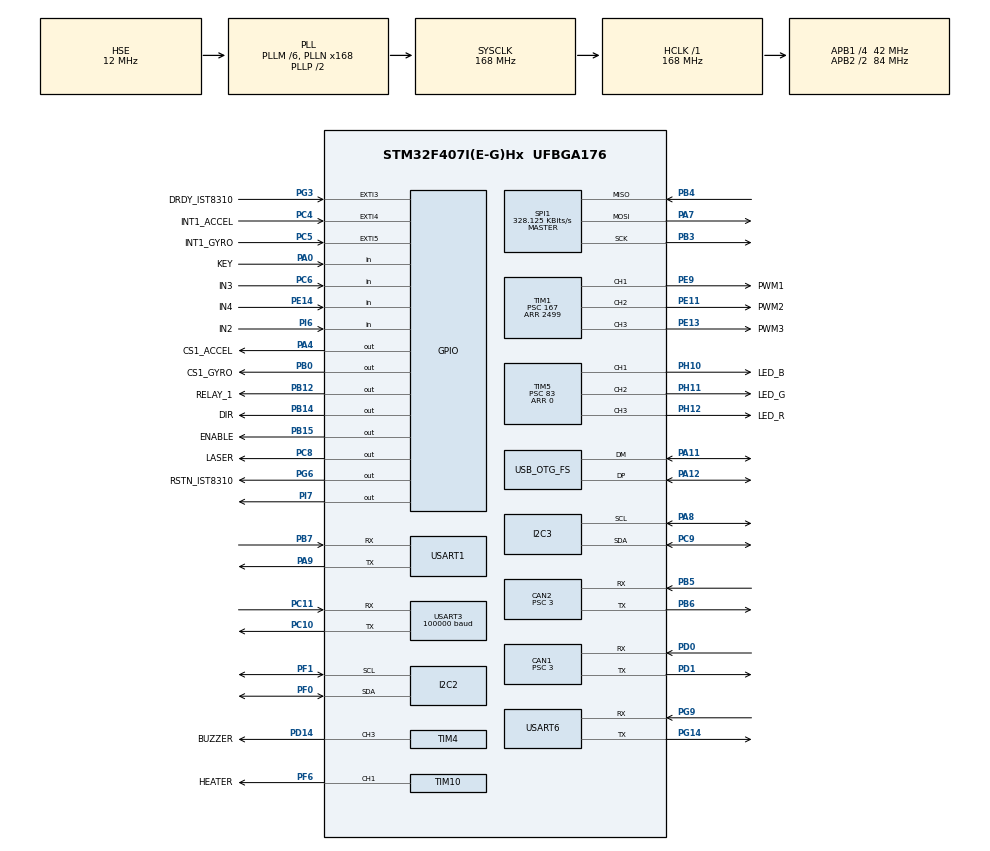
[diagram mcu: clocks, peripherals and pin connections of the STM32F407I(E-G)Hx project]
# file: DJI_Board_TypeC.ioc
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ARM.CMSIS.5.6.0.CMSISJjDSP=Source
CAN1.ABOM=ENABLE
CAN1.BS1=CAN_BS1_9TQ
CAN1.BS2=CAN_BS2_4TQ
CAN1.CalculateBaudRate=1000000
CAN1.CalculateTimeBit=1000
CAN1.CalculateTimeQuantum=71.42857142857143
CAN1.NART=ENABLE
CAN1.Prescaler=3
CAN2.ABOM=ENABLE
CAN2.BS1=CAN_BS1_9TQ
CAN2.BS2=CAN_BS2_4TQ
CAN2.CalculateBaudRate=1000000
CAN2.CalculateTimeBit=1000
CAN2.CalculateTimeQuantum=71.42857142857143
CAN2.NART=ENABLE
CAN2.Prescaler=3
Dma.Request0=USART6_RX
Dma.Request1=USART6_TX
Dma.Request2=USART3_RX
Dma.Request3=USART1_TX
Dma.Request4=USART1_RX
Dma.Request5=SPI1_RX
Dma.Request6=SPI1_TX
Dma.SPI1_RX.5.Direction=DMA_PERIPH_TO_MEMORY
Dma.SPI1_RX.5.FIFOMode=DMA_FIFOMODE_DISABLE
Dma.SPI1_RX.5.Instance=DMA2_Stream2
Dma.SPI1_RX.5.MemDataAlignment=DMA_MDATAALIGN_BYTE
Dma.SPI1_RX.5.MemInc=DMA_MINC_ENABLE
Dma.SPI1_RX.5.Mode=DMA_NORMAL
Dma.SPI1_RX.5.PeriphDataAlignment=DMA_PDATAALIGN_BYTE
Dma.SPI1_RX.5.PeriphInc=DMA_PINC_DISABLE
Dma.SPI1_RX.5.Priority=DMA_PRIORITY_VERY_HIGH
Dma.SPI1_TX.6.Direction=DMA_MEMORY_TO_PERIPH
Dma.SPI1_TX.6.FIFOMode=DMA_FIFOMODE_DISABLE
Dma.SPI1_TX.6.Instance=DMA2_Stream3
Dma.SPI1_TX.6.MemDataAlignment=DMA_MDATAALIGN_BYTE
Dma.SPI1_TX.6.MemInc=DMA_MINC_ENABLE
Dma.SPI1_TX.6.Mode=DMA_NORMAL
Dma.SPI1_TX.6.PeriphDataAlignment=DMA_PDATAALIGN_BYTE
Dma.SPI1_TX.6.PeriphInc=DMA_PINC_DISABLE
Dma.SPI1_TX.6.Priority=DMA_PRIORITY_HIGH
Dma.USART1_RX.4.Direction=DMA_PERIPH_TO_MEMORY
Dma.USART1_RX.4.FIFOMode=DMA_FIFOMODE_DISABLE
Dma.USART1_RX.4.Instance=DMA2_Stream5
Dma.USART1_RX.4.MemDataAlignment=DMA_MDATAALIGN_BYTE
Dma.USART1_RX.4.MemInc=DMA_MINC_ENABLE
Dma.USART1_RX.4.Mode=DMA_NORMAL
Dma.USART1_RX.4.PeriphDataAlignment=DMA_PDATAALIGN_BYTE
Dma.USART1_RX.4.PeriphInc=DMA_PINC_DISABLE
Dma.USART1_RX.4.Priority=DMA_PRIORITY_MEDIUM
Dma.USART1_TX.3.Direction=DMA_MEMORY_TO_PERIPH
Dma.USART1_TX.3.FIFOMode=DMA_FIFOMODE_DISABLE
Dma.USART1_TX.3.Instance=DMA2_Stream7
Dma.USART1_TX.3.MemDataAlignment=DMA_MDATAALIGN_BYTE
Dma.USART1_TX.3.MemInc=DMA_MINC_ENABLE
Dma.USART1_TX.3.Mode=DMA_NORMAL
Dma.USART1_TX.3.PeriphDataAlignment=DMA_PDATAALIGN_BYTE
Dma.USART1_TX.3.PeriphInc=DMA_PINC_DISABLE
Dma.USART1_TX.3.Priority=DMA_PRIORITY_MEDIUM
Dma.USART3_RX.2.Direction=DMA_PERIPH_TO_MEMORY
Dma.USART3_RX.2.FIFOMode=DMA_FIFOMODE_DISABLE
Dma.USART3_RX.2.Instance=DMA1_Stream1
Dma.USART3_RX.2.MemDataAlignment=DMA_MDATAALIGN_BYTE
Dma.USART3_RX.2.MemInc=DMA_MINC_ENABLE
Dma.USART3_RX.2.Mode=DMA_NORMAL
Dma.USART3_RX.2.PeriphDataAlignment=DMA_PDATAALIGN_BYTE
Dma.USART3_RX.2.PeriphInc=DMA_PINC_DISABLE
Dma.USART3_RX.2.Priority=DMA_PRIORITY_HIGH
Dma.USART6_RX.0.Direction=DMA_PERIPH_TO_MEMORY
Dma.USART6_RX.0.FIFOMode=DMA_FIFOMODE_DISABLE
Dma.USART6_RX.0.Instance=DMA2_Stream1
Dma.USART6_RX.0.MemDataAlignment=DMA_MDATAALIGN_BYTE
Dma.USART6_RX.0.MemInc=DMA_MINC_ENABLE
Dma.USART6_RX.0.Mode=DMA_NORMAL
Dma.USART6_RX.0.PeriphDataAlignment=DMA_PDATAALIGN_BYTE
Dma.USART6_RX.0.PeriphInc=DMA_PINC_DISABLE
Dma.USART6_RX.0.Priority=DMA_PRIORITY_HIGH
Dma.USART6_TX.1.Direction=DMA_MEMORY_TO_PERIPH
Dma.USART6_TX.1.FIFOMode=DMA_FIFOMODE_DISABLE
Dma.USART6_TX.1.Instance=DMA2_Stream6
Dma.USART6_TX.1.MemDataAlignment=DMA_MDATAALIGN_BYTE
Dma.USART6_TX.1.MemInc=DMA_MINC_ENABLE
Dma.USART6_TX.1.Mode=DMA_NORMAL
Dma.USART6_TX.1.PeriphDataAlignment=DMA_PDATAALIGN_BYTE
Dma.USART6_TX.1.PeriphInc=DMA_PINC_DISABLE
Dma.USART6_TX.1.Priority=DMA_PRIORITY_MEDIUM
FREERTOS.Tasks01=defaultTask,24,1024,StartDefaultTask,Default,NULL,Dynamic,NULL,NULL
FREERTOS.configCHECK_FOR_STACK_OVERFLOW=2
FREERTOS.configENABLE_FPU=1
FREERTOS.configGENERATE_RUN_TIME_STATS=1
FREERTOS.configTOTAL_HEAP_SIZE=65536
I2C2.I2C_Mode=I2C_Fast
I2C3.I2C_Mode=I2C_Fast
Mcu.Family=STM32F4
Mcu.Name=STM32F407I(E-G)Hx
Mcu.Package=UFBGA176
NVIC.CAN1_RX0_IRQn=true\:5\:0\:false\:false\:true\:true\:true\:true\:true
NVIC.CAN1_TX_IRQn=true\:5\:0\:false\:false\:true\:true\:true\:true\:true
NVIC.CAN2_RX0_IRQn=true\:5\:0\:false\:false\:true\:true\:true\:true\:true
NVIC.CAN2_TX_IRQn=true\:5\:0\:false\:false\:true\:true\:true\:true\:true
NVIC.DMA1_Stream1_IRQn=true\:5\:0\:false\:false\:true\:true\:false\:true\:true
NVIC.DMA2_Stream1_IRQn=true\:5\:0\:false\:false\:true\:true\:false\:true\:true
NVIC.DMA2_Stream2_IRQn=true\:5\:0\:false\:false\:true\:true\:false\:true\:true
NVIC.DMA2_Stream3_IRQn=true\:5\:0\:false\:false\:true\:true\:false\:true\:true
NVIC.DMA2_Stream5_IRQn=true\:5\:0\:false\:false\:true\:true\:false\:true\:true
NVIC.DMA2_Stream6_IRQn=true\:5\:0\:false\:false\:true\:true\:false\:true\:true
NVIC.DMA2_Stream7_IRQn=true\:5\:0\:false\:false\:true\:true\:false\:true\:true
NVIC.EXTI3_IRQn=true\:5\:0\:false\:false\:true\:false\:true\:true\:true
NVIC.EXTI4_IRQn=true\:5\:0\:false\:false\:true\:false\:true\:true\:true
NVIC.EXTI9_5_IRQn=true\:5\:0\:false\:false\:true\:false\:true\:true\:true
NVIC.OTG_FS_IRQn=true\:5\:0\:false\:false\:true\:true\:false\:true\:true
NVIC.PriorityGroup=NVIC_PRIORITYGROUP_4
NVIC.TIM3_IRQn=true\:0\:0\:true\:false\:true\:false\:false\:true\:true
NVIC.TimeBase=TIM3_IRQn
NVIC.TimeBaseIP=TIM3
NVIC.USART1_IRQn=true\:5\:0\:false\:false\:true\:true\:true\:true\:true
NVIC.USART3_IRQn=true\:5\:0\:false\:false\:true\:true\:true\:true\:true
NVIC.USART6_IRQn=true\:5\:0\:false\:false\:true\:true\:true\:true\:true
PA0-WKUP.GPIO_Label=KEY
PA0-WKUP.GPIO_PuPd=GPIO_PULLUP
PA0-WKUP.Signal=GPIO_Input
PA11.Mode=Device_Only
PA11.Signal=USB_OTG_FS_DM
PA12.Mode=Device_Only
PA12.Signal=USB_OTG_FS_DP
PA13.Mode=Serial_Wire
PA13.Signal=SYS_JTMS-SWDIO
PA14.Mode=Serial_Wire
PA14.Signal=SYS_JTCK-SWCLK
PA4.GPIO_Label=CS1_ACCEL
PA4.GPIO_PuPd=GPIO_PULLUP
PA4.GPIO_Speed=GPIO_SPEED_FREQ_HIGH
PA4.PinState=GPIO_PIN_SET
PA4.Signal=GPIO_Output
PA7.GPIO_PuPd=GPIO_PULLUP
PA7.Mode=Full_Duplex_Master
PA7.Signal=SPI1_MOSI
PA8.GPIO_Pu=GPIO_PULLUP
PA8.Mode=I2C
PA8.Signal=I2C3_SCL
PA9.GPIO_PuPd=GPIO_PULLUP
PA9.Mode=Asynchronous
PA9.Signal=USART1_TX
PB0.GPIO_Label=CS1_GYRO
PB0.GPIO_PuPd=GPIO_PULLUP
PB0.GPIO_Speed=GPIO_SPEED_FREQ_HIGH
PB0.PinState=GPIO_PIN_SET
PB0.Signal=GPIO_Output
PB12.GPIO_Label=RELAY_1
PB12.GPIO_Speed=GPIO_SPEED_FREQ_HIGH
PB12.PinState=GPIO_PIN_SET
PB12.Signal=GPIO_Output
PB14.GPIO_Label=DIR
PB14.GPIO_PuPd=GPIO_PULLUP
PB14.PinState=GPIO_PIN_RESET
PB14.Signal=GPIO_Output
PB15.GPIO_Label=ENABLE
PB15.GPIO_PuPd=GPIO_PULLUP
PB15.GPIO_Speed=GPIO_SPEED_FREQ_LOW
PB15.PinState=GPIO_PIN_RESET
PB15.Signal=GPIO_Output
PB3.GPIO_PuPd=GPIO_PULLUP
PB3.Mode=Full_Duplex_Master
PB3.Signal=SPI1_SCK
PB4.GPIO_PuPd=GPIO_PULLUP
PB4.Mode=Full_Duplex_Master
PB4.Signal=SPI1_MISO
PB5.Mode=CAN_Activate
PB5.Signal=CAN2_RX
PB6.Mode=CAN_Activate
PB6.Signal=CAN2_TX
PB7.GPIO_PuPd=GPIO_PULLUP
PB7.Mode=Asynchronous
PB7.Signal=USART1_RX
PC10.GPIO_PuPd=GPIO_PULLUP
PC10.Mode=Asynchronous
PC10.Signal=USART3_TX
PC11.GPIO_PuPd=GPIO_PULLUP
PC11.Mode=Asynchronous
PC11.Signal=USART3_RX
PC4.GPIO_Label=INT1_ACCEL
PC4.GPIO_ModeDefaultEXTI=GPIO_MODE_IT_FALLING
PC4.GPIO_PuPd=GPIO_PULLUP
PC4.Signal=GPXTI4
PC5.GPIO_Label=INT1_GYRO
PC5.GPIO_ModeDefaultEXTI=GPIO_MODE_IT_FALLING
PC5.GPIO_PuPd=GPIO_PULLUP
PC5.Signal=GPXTI5
PC6.GPIO_Label=IN3
PC6.GPIO_PuPd=GPIO_PULLUP
PC6.Signal=GPIO_Input
PC8.GPIO_Label=LASER
PC8.GPIO_PuPd=GPIO_PULLUP
PC8.Signal=GPIO_Output
PC9.GPIO_Pu=GPIO_PULLUP
PC9.Mode=I2C
PC9.Signal=I2C3_SDA
PD0.Mode=CAN_Activate
PD0.Signal=CAN1_RX
PD1.Mode=CAN_Activate
PD1.Signal=CAN1_TX
PD14.GPIO_Label=BUZZER
PD14.GPIO_ModeDefaultPP=GPIO_MODE_AF_PP
PD14.GPIO_PuPd=GPIO_NOPULL
PD14.GPIO_Speed=GPIO_SPEED_FREQ_VERY_HIGH
PD14.Signal=S_TIM4_CH3
PE11.GPIO_Label=PWM2
PE11.GPIO_PuPd=GPIO_NOPULL
PE11.GPIO_Speed=GPIO_SPEED_FREQ_VERY_HIGH
PE11.Signal=S_TIM1_CH2
PE13.GPIO_Label=PWM3
PE13.GPIO_Speed=GPIO_SPEED_FREQ_VERY_HIGH
PE13.Signal=S_TIM1_CH3
PE14.GPIO_Label=IN4
PE14.GPIO_PuPd=GPIO_PULLUP
PE14.Signal=GPIO_Input
PE9.GPIO_Label=PWM1
PE9.GPIO_PuPd=GPIO_NOPULL
PE9.GPIO_Speed=GPIO_SPEED_FREQ_VERY_HIGH
PE9.Signal=S_TIM1_CH1
PF0.GPIO_Pu=GPIO_PULLUP
PF0.Mode=I2C
PF0.Signal=I2C2_SDA
PF1.GPIO_Pu=GPIO_PULLUP
PF1.Mode=I2C
PF1.Signal=I2C2_SCL
PF6.GPIO_Label=HEATER
PF6.GPIO_Speed=GPIO_SPEED_FREQ_VERY_HIGH
PF6.Signal=S_TIM10_CH1
PG14.GPIO_PuPd=GPIO_PULLUP
PG14.Mode=Asynchronous
PG14.Signal=USART6_TX
PG3.GPIO_Label=DRDY_IST8310
PG3.GPIO_ModeDefaultEXTI=GPIO_MODE_IT_FALLING
PG3.GPIO_PuPd=GPIO_PULLUP
PG3.Signal=GPXTI3
PG6.GPIO_Label=RSTN_IST8310
PG6.GPIO_PuPd=GPIO_PULLUP
PG6.GPIO_Speed=GPIO_SPEED_FREQ_MEDIUM
PG6.PinState=GPIO_PIN_SET
PG6.Signal=GPIO_Output
PG9.GPIO_PuPd=GPIO_PULLUP
PG9.Mode=Asynchronous
PG9.Signal=USART6_RX
PH0-OSC_IN.Mode=HSE-External-Oscillator
PH0-OSC_IN.Signal=RCC_OSC_IN
PH1-OSC_OUT.Mode=HSE-External-Oscillator
PH1-OSC_OUT.Signal=RCC_OSC_OUT
PH10.GPIO_Label=LED_B
PH10.GPIO_Speed=GPIO_SPEED_FREQ_VERY_HIGH
PH10.Signal=S_TIM5_CH1
PH11.GPIO_Label=LED_G
PH11.GPIO_Speed=GPIO_SPEED_FREQ_VERY_HIGH
PH11.Signal=S_TIM5_CH2
PH12.GPIO_Label=LED_R
PH12.GPIO_Speed=GPIO_SPEED_FREQ_VERY_HIGH
PH12.Signal=S_TIM5_CH3
PI6.GPIO_Label=IN2
PI6.GPIO_PuPd=GPIO_PULLUP
PI6.Signal=GPIO_Input
PI7.GPIO_Speed=GPIO_SPEED_FREQ_VERY_HIGH
PI7.PinState=GPIO_PIN_SET
PI7.Signal=GPIO_Output
ProjectManager.HeapSize=0x2000
ProjectManager.StackSize=0x2000
ProjectManager.TargetToolchain=CMake
RCC.48MHZClocksFreq_Value=48000000
RCC.AHBFreq_Value=168000000
RCC.APB1CLKDivider=RCC_HCLK_DIV4
RCC.APB1Freq_Value=42000000
RCC.APB1TimFreq_Value=84000000
RCC.APB2CLKDivider=RCC_HCLK_DIV2
RCC.APB2Freq_Value=84000000
RCC.APB2TimFreq_Value=168000000
RCC.CortexFreq_Value=168000000
RCC.HCLKFreq_Value=168000000
RCC.HSE_VALUE=12000000
RCC.HSI_VALUE=16000000
RCC.LSE_VALUE=32768
RCC.PLLM=6
RCC.PLLN=168
RCC.PLLQ=7
RCC.SYSCLKFreq_VALUE=168000000
RCC.SYSCLKSource=RCC_SYSCLKSOURCE_PLLCLK
RCC.VCOOutputFreq_Value=336000000
SH.S_TIM10_CH1.0=TIM10_CH1,PWM Generation1 CH1
SH.S_TIM1_CH1.0=TIM1_CH1,PWM Generation1 CH1
SH.S_TIM1_CH2.0=TIM1_CH2,PWM Generation2 CH2
SH.S_TIM1_CH3.0=TIM1_CH3,PWM Generation3 CH3
SH.S_TIM4_CH3.0=TIM4_CH3,PWM Generation3 CH3
SH.S_TIM5_CH1.0=TIM5_CH1,PWM Generation1 CH1
SH.S_TIM5_CH2.0=TIM5_CH2,PWM Generation2 CH2
SH.S_TIM5_CH3.0=TIM5_CH3,PWM Generation3 CH3
SPI1.BaudRatePrescaler=SPI_BAUDRATEPRESCALER_256
SPI1.CLKPhase=SPI_PHASE_2EDGE
SPI1.CLKPolarity=SPI_POLARITY_HIGH
SPI1.CalculateBaudRate=328.125 KBits/s
SPI1.Direction=SPI_DIRECTION_2LINES
SPI1.Mode=SPI_MODE_MASTER
SPI1.VirtualType=VM_MASTER
TIM1.Channel-PWM\ Generation1\ CH1=TIM_CHANNEL_1
TIM1.Channel-PWM\ Generation2\ CH2=TIM_CHANNEL_2
TIM1.Channel-PWM\ Generation3\ CH3=TIM_CHANNEL_3
TIM1.Period=2499
TIM1.Prescaler=167
TIM1.Pulse-PWM\ Generation1\ CH1=1000
TIM1.Pulse-PWM\ Generation2\ CH2=1000
TIM1.Pulse-PWM\ Generation3\ CH3=1000
TIM10.Channel=TIM_CHANNEL_1
TIM10.Period=0
TIM10.Prescaler=167
TIM4.Channel-PWM\ Generation3\ CH3=TIM_CHANNEL_3
TIM4.Period=0
TIM4.Prescaler=83
TIM5.Channel-PWM\ Generation1\ CH1=TIM_CHANNEL_1
TIM5.Channel-PWM\ Generation2\ CH2=TIM_CHANNEL_2
TIM5.Channel-PWM\ Generation3\ CH3=TIM_CHANNEL_3
TIM5.Period=0
TIM5.Prescaler=83
TIM8.Prescaler=167
USART1.VirtualMode=VM_ASYNC
USART3.BaudRate=100000
USART3.Parity=PARITY_EVEN
USART3.VirtualMode=VM_ASYNC
USART3.WordLength=WORDLENGTH_9B
USART6.VirtualMode=VM_ASYNC
USB_DEVICE.CLASS_NAME_FS=CDC
USB_DEVICE.VirtualMode-CDC_FS=Cdc
USB_DEVICE.VirtualModeFS=Cdc_FS
USB_OTG_FS.VirtualMode=Device_Only
VP_ARM.CMSIS_VS_CMSISJjDSP_1.7.0_5.6.0.Mode=CMSISJjDSP
VP_FREERTOS_VS_CMSIS_V2.Mode=CMSIS_V2
VP_SYS_VS_tim3.Mode=TIM3
VP_TIM10_VS_ClockSourceINT.Mode=Enable_Timer
VP_TIM1_VS_ClockSourceINT.Mode=Internal
VP_TIM4_VS_ClockSourceINT.Mode=Internal
VP_TIM5_VS_ClockSourceINT.Mode=Internal
VP_TIM8_VS_ClockSourceINT.Mode=Internal
VP_USB_DEVICE_VS_USB_DEVICE_CDC_FS.Mode=CDC_FS
board=custom

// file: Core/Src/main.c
/* USER CODE BEGIN Header */
/**
  ******************************************************************************
  * @file           : main.c
  * @brief          : Main program body
  ******************************************************************************
  * @attention
  *
  * Copyright (c) 2025 STMicroelectronics.
  * All rights reserved.
  *
  * This software is licensed under terms that can be found in the LICENSE file
  * in the root directory of this software component.
  * If no LICENSE file comes with this software, it is provided AS-IS.
  *
  ******************************************************************************
  */
/* USER CODE END Header */
#include "main.h"
#include "cmsis_os.h"
#include "can.h"
#include "dma.h"
#include "i2c.h"
#include "spi.h"
#include "tim.h"
#include "usart.h"
#include "usb_device.h"
#include "gpio.h"

void SystemClock_Config(void);
void MX_FREERTOS_Init(void);

int main(void)
{

  /* MCU Configuration--------------------------------------------------------*/

  /* Reset of all peripherals, Initializes the Flash interface and the Systick. */
  HAL_Init();

  /* USER CODE BEGIN Init */
  // 血与泪的教训, 外设上电没stm32快, 必须要阻塞型delay, 不然上电后需要复位才能工作
  HAL_Delay(500);
  /* USER CODE END Init */

  /* Configure the system clock */
  SystemClock_Config();

  /* Initialize all configured peripherals */
  MX_GPIO_Init();
  MX_DMA_Init();
  MX_USART6_UART_Init();
  MX_USART3_UART_Init();
  MX_USART1_UART_Init();
  MX_SPI1_Init();
  MX_CAN1_Init();
  MX_CAN2_Init();
  MX_I2C2_Init();
  MX_I2C3_Init();
  MX_TIM1_Init();
  MX_TIM4_Init();
  MX_TIM5_Init();
  MX_TIM8_Init();
  MX_TIM10_Init();

  /* Init scheduler */
  osKernelInitialize();

  /* Call init function for freertos objects (in cmsis_os2.c) */
  MX_FREERTOS_Init();

  /* Start scheduler */
  osKernelStart();

  /* We should never get here as control is now taken by the scheduler */

  /* Infinite loop */
  while (1)
  {

  }
}

void SystemClock_Config(void)
{
  RCC_OscInitTypeDef RCC_OscInitStruct = {0};
  RCC_ClkInitTypeDef RCC_ClkInitStruct = {0};

  /** Configure the main internal regulator output voltage
  */
  __HAL_RCC_PWR_CLK_ENABLE();
  __HAL_PWR_VOLTAGESCALING_CONFIG(PWR_REGULATOR_VOLTAGE_SCALE1);

  /** Initializes the RCC Oscillators according to the specified parameters
  * in the RCC_OscInitTypeDef structure.
  */
  RCC_OscInitStruct.OscillatorType = RCC_OSCILLATORTYPE_HSE;
  RCC_OscInitStruct.HSEState = RCC_HSE_ON;
  RCC_OscInitStruct.PLL.PLLState = RCC_PLL_ON;
  RCC_OscInitStruct.PLL.PLLSource = RCC_PLLSOURCE_HSE;
  RCC_OscInitStruct.PLL.PLLM = 6;
  RCC_OscInitStruct.PLL.PLLN = 168;
  RCC_OscInitStruct.PLL.PLLP = RCC_PLLP_DIV2;
  RCC_OscInitStruct.PLL.PLLQ = 7;
  if (HAL_RCC_OscConfig(&RCC_OscInitStruct) != HAL_OK)
  {
    Error_Handler();
  }

  /** Initializes the CPU, AHB and APB buses clocks
  */
  RCC_ClkInitStruct.ClockType = RCC_CLOCKTYPE_HCLK|RCC_CLOCKTYPE_SYSCLK
                              |RCC_CLOCKTYPE_PCLK1|RCC_CLOCKTYPE_PCLK2;
  RCC_ClkInitStruct.SYSCLKSource = RCC_SYSCLKSOURCE_PLLCLK;
  RCC_ClkInitStruct.AHBCLKDivider = RCC_SYSCLK_DIV1;
  RCC_ClkInitStruct.APB1CLKDivider = RCC_HCLK_DIV4;
  RCC_ClkInitStruct.APB2CLKDivider = RCC_HCLK_DIV2;

  if (HAL_RCC_ClockConfig(&RCC_ClkInitStruct, FLASH_LATENCY_5) != HAL_OK)
  {
    Error_Handler();
  }
}

void HAL_TIM_PeriodElapsedCallback(TIM_HandleTypeDef *htim)
{
  if (htim->Instance == TIM3)
  {
    HAL_IncTick();
  }
}

void Error_Handler(void)
{
  __disable_irq();
  while (1)
  {
  }
}

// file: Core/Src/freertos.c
/* USER CODE BEGIN Header */
/**
  ******************************************************************************
  * File Name          : freertos.c
  * Description        : Code for freertos applications
  ******************************************************************************
  * @attention
  *
  * Copyright (c) 2025 STMicroelectronics.
  * All rights reserved.
  *
  * This software is licensed under terms that can be found in the LICENSE file
  * in the root directory of this software component.
  * If no LICENSE file comes with this software, it is provided AS-IS.
  *
  ******************************************************************************
  */
/* USER CODE END Header */

#include "FreeRTOS.h"
#include "task.h"
#include "main.h"
#include "cmsis_os.h"

/* Definitions for defaultTask */
osThreadId_t defaultTaskHandle;
const osThreadAttr_t defaultTask_attributes = {
  .name = "defaultTask",
  .stack_size = 1024 * 4,
  .priority = (osPriority_t) osPriorityNormal,
};

/* USER CODE BEGIN FunctionPrototypes */
__weak void RTOS_Init(void) {}
__weak void RTOS_Mutexes_Init(void) {}
__weak void RTOS_Semaphores_Init(void) {}
__weak void RTOS_Timers_Init(void) {}
__weak void RTOS_Queues_Init(void) {}
__weak void RTOS_Threads_Init(void) {}
__weak void RTOS_Ready(void) {}
__weak void RTOS_Default_Task(const void *argument) { UNUSED(argument); }
/* USER CODE END FunctionPrototypes */

void StartDefaultTask(void *argument);

extern void MX_USB_DEVICE_Init(void);
void MX_FREERTOS_Init(void); /* (MISRA C 2004 rule 8.1) */

/* Hook prototypes */
void configureTimerForRunTimeStats(void);
unsigned long getRunTimeCounterValue(void);
void vApplicationStackOverflowHook(xTaskHandle xTask, signed char *pcTaskName);

/* USER CODE BEGIN 1 */
/* Functions needed when configGENERATE_RUN_TIME_STATS is on */
__weak void configureTimerForRunTimeStats(void)
{

}

__weak unsigned long getRunTimeCounterValue(void)
{
return 0;
}
/* USER CODE END 1 */

/* USER CODE BEGIN 4 */
void vApplicationStackOverflowHook(xTaskHandle xTask, signed char *pcTaskName)
{
   /* Run time stack overflow checking is performed if
   configCHECK_FOR_STACK_OVERFLOW is defined to 1 or 2. This hook function is
   called if a stack overflow is detected. */
}
/* USER CODE END 4 */

void MX_FREERTOS_Init(void) {
  /* USER CODE BEGIN Init */
  RTOS_Init();
  /* USER CODE END Init */

  /* USER CODE BEGIN RTOS_MUTEX */
  /* add mutexes, ... */
  RTOS_Mutexes_Init();
  /* USER CODE END RTOS_MUTEX */

  /* USER CODE BEGIN RTOS_SEMAPHORES */
  /* add semaphores, ... */
  RTOS_Semaphores_Init();
  /* USER CODE END RTOS_SEMAPHORES */

  /* USER CODE BEGIN RTOS_TIMERS */
  /* start timers, add new ones, ... */
  RTOS_Timers_Init();
  /* USER CODE END RTOS_TIMERS */

  /* USER CODE BEGIN RTOS_QUEUES */
  /* add queues, ... */
  RTOS_Queues_Init();
  /* USER CODE END RTOS_QUEUES */

  /* Create the thread(s) */
  /* creation of defaultTask */
  defaultTaskHandle = osThreadNew(StartDefaultTask, NULL, &defaultTask_attributes);

  /* USER CODE BEGIN RTOS_THREADS */
  /* add threads, ... */
  RTOS_Threads_Init();
  RTOS_Ready();
  /* USER CODE END RTOS_THREADS */

}

void StartDefaultTask(void *argument)
{
  /* init code for USB_DEVICE */
  MX_USB_DEVICE_Init();
  /* USER CODE BEGIN StartDefaultTask */
  RTOS_Default_Task(argument);
  /* Infinite loop */
  for(;;)
  {
    osDelay(1);
  }
  /* USER CODE END StartDefaultTask */
}
